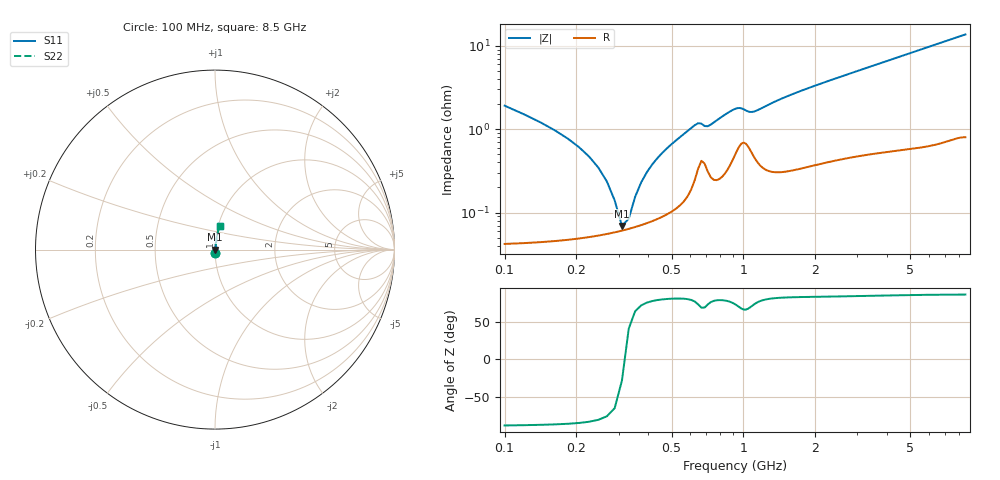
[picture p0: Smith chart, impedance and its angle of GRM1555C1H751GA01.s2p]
!Murata Part Number: GRM1555C1H751GA01
!These Parameters are Measured in Series Mode Connection
!Data Generated on Mar 30, 2021
!  o--ll--o
!Port1  Port2
!  o------o
!Operation Temp=25[degC], DC Bias Voltage=0[V]
!Freq. Start=100[MHz] Stop=9[GHz] 401[Steps]
# Hz S RI R 50
!Freq.(Hz) S11(Real) S11(Imag) S21(Real) S21(Imag) S12(Real) S12(Imag) S22(Real) S22(Imag)
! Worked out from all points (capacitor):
!   401 points, 100 MHz to 8.5 GHz, reference 50 ohm
!   read as one part in series: C = 749 pF near 142 MHz
!   lowest |Z| = 69.1 mohm at 310 MHz (marker M1)
!   series resonance near 317.8 MHz, so ESL is about 330 pH
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1e8  0.000786 -0.0191  0.9992 0.0191  0.9992 0.0191  0.000786 -0.0191
1.42e8  0.000586 -0.012  0.9994 0.012  0.9994 0.012  0.000586 -0.012
2.05e8  0.000526 -0.00606  0.9995 0.00606  0.9995 0.00606  0.000526 -0.00606
2.47e8  0.000542 -0.00341  0.9995 0.00341  0.9995 0.00341  0.000542 -0.00341
2.89e8  0.000581 -0.00127  0.9994 0.00127  0.9994 0.00127  0.000581 -0.00127
3.1e8  0.000607 -0.00033  0.9994 0.00033  0.9994 0.00033  0.000607 -0.00033
3.31e8  0.000638 0.000554  0.9994 -0.000554  0.9994 -0.000554  0.000638 0.000554
3.52e8  0.000673 0.00139  0.9993 -0.00139  0.9993 -0.00139  0.000673 0.00139
3.94e8  0.000755 0.00295  0.9992 -0.00295  0.9992 -0.00295  0.000755 0.00295
4.57e8  0.000916 0.00511  0.9991 -0.00511  0.9991 -0.00511  0.000916 0.00511
5.41e8  0.00127 0.00787  0.9987 -0.00787  0.9987 -0.00787  0.00127 0.00787
6.25e8  0.00255 0.0108  0.9975 -0.0108  0.9975 -0.0108  0.00255 0.0108
7.3e8  0.00277 0.011  0.9972 -0.011  0.9972 -0.011  0.00277 0.011
9.19e8  0.00507 0.0166  0.9949 -0.0166  0.9949 -0.0166  0.00507 0.0166
1.108e9  0.00486 0.0155  0.9951 -0.0155  0.9951 -0.0155  0.00486 0.0155
1.507e9  0.00367 0.0241  0.9963 -0.0241  0.9963 -0.0241  0.00367 0.0241
2.095e9  0.005 0.0345  0.995 -0.0345  0.995 -0.0345  0.005 0.0345
2.914e9  0.00692 0.0477  0.9931 -0.0477  0.9931 -0.0477  0.00692 0.0477
4.3e9  0.0103 0.0694  0.9897 -0.0694  0.9897 -0.0694  0.0103 0.0694
5.707e9  0.0145 0.0912  0.9855 -0.0912  0.9855 -0.0912  0.0145 0.0912
7.114e9  0.02 0.1125  0.98 -0.1125  0.98 -0.1125  0.02 0.1125
8.5e9  0.0258 0.1319  0.9742 -0.1319  0.9742 -0.1319  0.0258 0.1319
